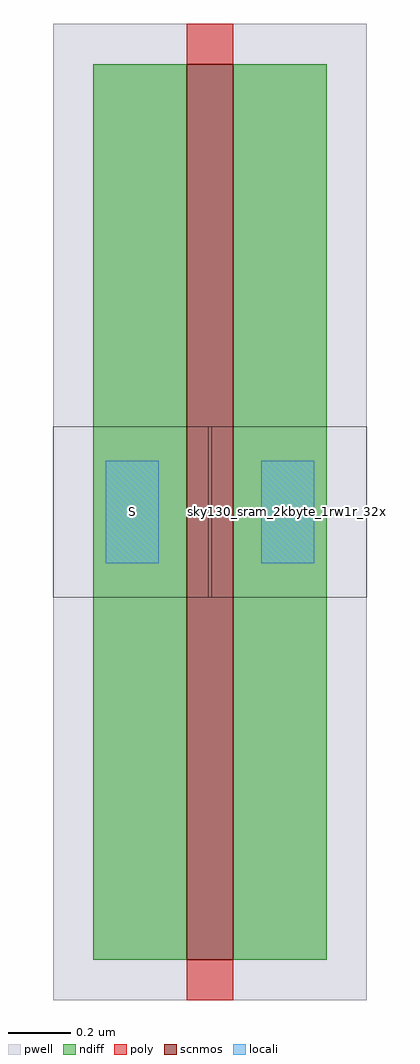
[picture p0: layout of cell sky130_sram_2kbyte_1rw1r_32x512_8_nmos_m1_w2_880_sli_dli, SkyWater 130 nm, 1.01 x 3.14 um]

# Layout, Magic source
magic
tech sky130A
magscale 1 2
<< pwell >>
rect -26 -26 176 602
<< scnmos >>
rect 60 0 90 576
<< ndiff >>
rect 0 0 60 576
rect 90 0 150 576
<< poly >>
rect 60 576 90 602
rect 60 -26 90 0
<< locali >>
rect 8 255 42 321
rect 108 255 142 321
use sky130_sram_2kbyte_1rw1r_32x512_8_contact_11  sky130_sram_2kbyte_1rw1r_32x512_8_contact_11_0
transform 1 0 100 0 1 255
box -26 -22 76 88
use sky130_sram_2kbyte_1rw1r_32x512_8_contact_11  sky130_sram_2kbyte_1rw1r_32x512_8_contact_11_1
transform 1 0 0 0 1 255
box -26 -22 76 88
<< labels >>
rlabel locali s 25 288 25 288 4 S
rlabel locali s 125 288 125 288 4 D
rlabel poly s 75 288 75 288 4 G
<< properties >>
string FIXED_BBOX -25 -26 175 602
<< end >>
